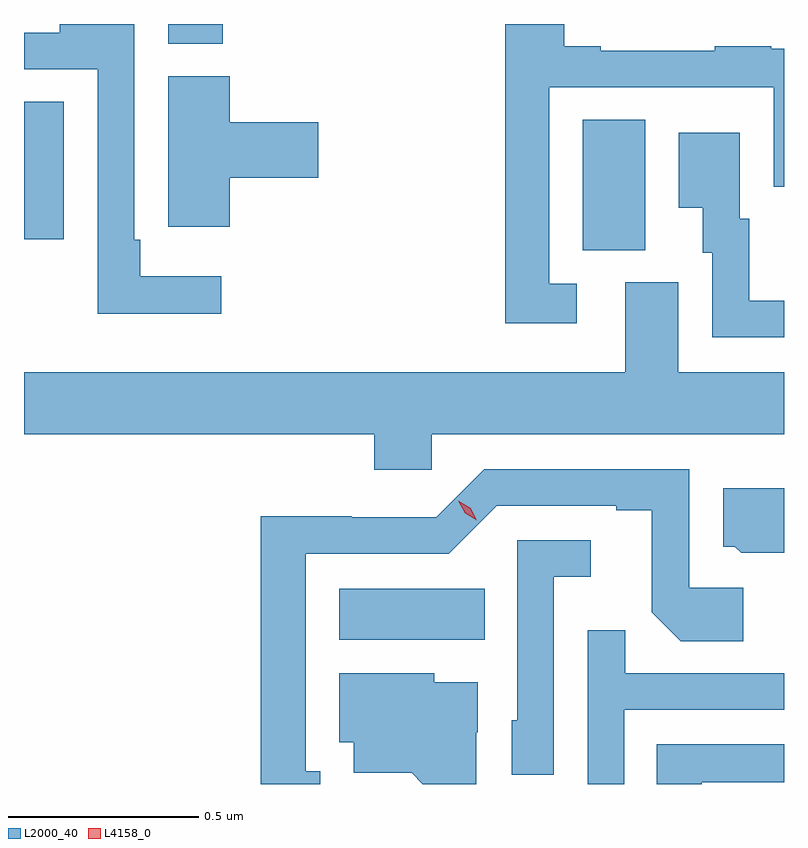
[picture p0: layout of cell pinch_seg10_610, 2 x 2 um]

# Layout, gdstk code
import gdstk
lib = gdstk.Library(unit=1e-6, precision=1e-09)
def R(c, l, rs):  # rectangles x0, y0, x1, y1
    for r in rs: c.add(gdstk.rectangle(r[:2], r[2:], *l))
def P(c, l, *ps):  # polygons
    for p in ps: c.add(gdstk.Polygon(p, *l))
L2000_40 = (2000, 40)
L4158_0 = (4158, 0)

pinch_seg10_610 = lib.new_cell('pinch_seg10_610')
R(pinch_seg10_610, L2000_40, [(370.694,1274.468,371.078,1274.602), (371.336,1275.493,371.5,1275.836), (369.865,1275.522,369.97,1275.884), (370.244,1276.036,370.388,1276.088)])
P(pinch_seg10_610, L2000_40, [(370.384,1275.424),(370.171,1275.424),(370.171,1275.52),(370.155,1275.52),(370.155,1276.088),(369.959,1276.088),(369.959,1276.065),(369.865,1276.065),(369.865,1275.969),(370.059,1275.969),(370.059,1275.326),(370.384,1275.326)],
  [(371.32,1275.405),(371.247,1275.405),(371.247,1275.921),(371.838,1275.921),(371.838,1275.66),(371.865,1275.66),(371.865,1276.023),(371.831,1276.023),(371.831,1276.03),(371.683,1276.03),(371.683,1276.017),(371.383,1276.017),(371.383,1276.03),(371.287,1276.03),(371.287,1276.088),(371.131,1276.088),(371.131,1275.3),(371.32,1275.3)],
  [(370.406,1275.683),(370.639,1275.683),(370.639,1275.83),(370.406,1275.83),(370.406,1275.951),(370.244,1275.951),(370.244,1275.667),(370.245,1275.667),(370.245,1275.555),(370.406,1275.555)],
  [(371.865,1275.36),(371.773,1275.36),(371.773,1275.576),(371.749,1275.576),(371.749,1275.802),(371.588,1275.802),(371.588,1275.605),(371.651,1275.605),(371.651,1275.486),(371.676,1275.486),(371.676,1275.264),(371.865,1275.264)],
  [(370.938,1275.008),(371.865,1275.008),(371.865,1275.172),(371.587,1275.172),(371.587,1275.408),(371.447,1275.408),(371.447,1275.172),(369.865,1275.172),(369.865,1275.008),(370.787,1275.008),(370.787,1274.915),(370.938,1274.915)],
  [(370.645,1274.121),(370.606,1274.121),(370.606,1274.694),(370.983,1274.694),(371.109,1274.82),(371.423,1274.82),(371.423,1274.808),(371.517,1274.808),(371.517,1274.54),(371.593,1274.464),(371.758,1274.464),(371.758,1274.604),(371.616,1274.604),(371.616,1274.916),(371.076,1274.916),(370.95,1274.79),(370.728,1274.79),(370.728,1274.792),(370.488,1274.792),(370.488,1274.088),(370.645,1274.088)],
  [(371.865,1274.866),(371.705,1274.866),(371.705,1274.712),(371.736,1274.712),(371.752,1274.696),(371.865,1274.696)],
  [(371.259,1274.633),(371.356,1274.633),(371.356,1274.73),(371.163,1274.73),(371.163,1274.256),(371.148,1274.256),(371.148,1274.113),(371.259,1274.113)],
  [(371.445,1274.283),(371.865,1274.283),(371.865,1274.379),(371.447,1274.379),(371.447,1274.492),(371.349,1274.492),(371.349,1274.088),(371.445,1274.088)],
  [(371.055,1274.224),(371.059,1274.224),(371.059,1274.356),(370.944,1274.356),(370.944,1274.38),(370.694,1274.38),(370.694,1274.198),(370.733,1274.198),(370.733,1274.117),(370.885,1274.117),(370.914,1274.088),(371.055,1274.088)],
  [(371.649,1274.092),(371.865,1274.092),(371.865,1274.193),(371.53,1274.193),(371.53,1274.088),(371.649,1274.088)])
P(pinch_seg10_610, L4158_0, [(371.057,1274.782),(371.026,1274.801),(371.008,1274.833),(371.008,1274.833),(371.008,1274.833),(371.04,1274.814),(371.057,1274.782),(371.057,1274.782)])

lib.write_gds('pinch_seg10_610.gds')
